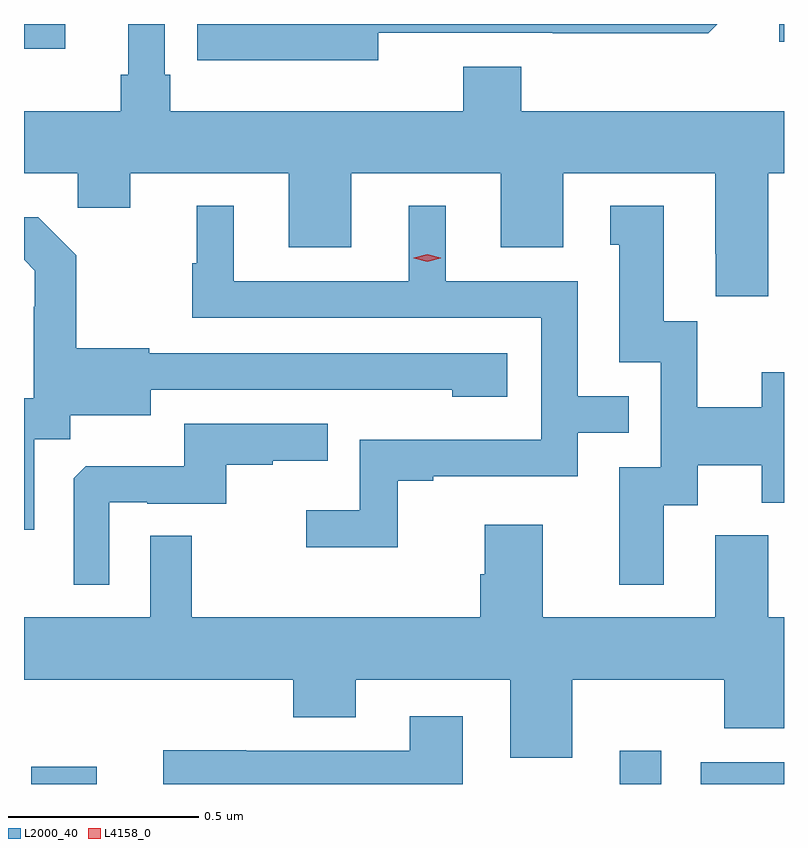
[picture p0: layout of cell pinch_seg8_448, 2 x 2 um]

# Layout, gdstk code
import gdstk
lib = gdstk.Library(unit=1e-6, precision=1e-09)
def R(c, l, rs):  # rectangles x0, y0, x1, y1
    for r in rs: c.add(gdstk.rectangle(r[:2], r[2:], *l))
def P(c, l, *ps):  # polygons
    for p in ps: c.add(gdstk.Polygon(p, *l))
L2000_40 = (2000, 40)
L4158_0 = (4158, 0)

pinch_seg8_448 = lib.new_cell('pinch_seg8_448')
R(pinch_seg8_448, L2000_40, [(317.489,1136.205,317.662,1136.251), (319.038,1136.205,319.147,1136.293), (319.251,1136.205,319.47,1136.262), (317.47,1138.14,317.578,1138.205), (319.458,1138.158,319.47,1138.205)])
P(pinch_seg8_448, L2000_40, [(319.429,1137.812),(319.47,1137.812),(319.47,1137.976),(318.779,1137.976),(318.779,1138.093),(318.626,1138.093),(318.626,1137.976),(317.855,1137.976),(317.855,1138.072),(317.841,1138.072),(317.841,1138.205),(317.744,1138.205),(317.744,1138.072),(317.725,1138.072),(317.725,1137.976),(317.47,1137.976),(317.47,1137.812),(317.611,1137.812),(317.611,1137.722),(317.749,1137.722),(317.749,1137.812),(318.167,1137.812),(318.167,1137.618),(318.331,1137.618),(318.331,1137.812),(318.725,1137.812),(318.725,1137.618),(318.889,1137.618),(318.889,1137.812),(319.289,1137.812),(319.289,1137.601),(319.29,1137.601),(319.29,1137.489),(319.429,1137.489)],
  [(318.402,1138.182),(318.862,1138.182),(318.862,1138.181),(319.27,1138.181),(319.294,1138.205),(317.926,1138.205),(317.926,1138.11),(318.034,1138.11),(318.034,1138.109),(318.402,1138.109)],
  [(319.153,1136.938),(319.243,1136.938),(319.243,1137.044),(319.412,1137.044),(319.412,1136.945),(319.47,1136.945),(319.47,1137.289),(319.412,1137.289),(319.412,1137.196),(319.242,1137.196),(319.242,1137.423),(319.153,1137.423),(319.153,1137.727),(319.013,1137.727),(319.013,1137.624),(319.037,1137.624),(319.037,1137.315),(319.146,1137.315),(319.146,1137.039),(319.037,1137.039),(319.037,1136.73),(319.153,1136.73)],
  [(318.453,1137.003),(318.547,1137.003),(318.547,1137.015),(318.927,1137.015),(318.927,1137.129),(319.061,1137.129),(319.061,1137.225),(318.927,1137.225),(318.927,1137.528),(318.58,1137.528),(318.58,1137.727),(318.482,1137.727),(318.482,1137.528),(318.022,1137.528),(318.022,1137.727),(317.924,1137.727),(317.924,1137.576),(317.913,1137.576),(317.913,1137.432),(318.831,1137.432),(318.831,1137.111),(318.354,1137.111),(318.354,1136.926),(318.213,1136.926),(318.213,1136.828),(318.453,1136.828)],
  [(317.497,1137.112),(317.592,1137.112),(317.592,1137.176),(317.803,1137.176),(317.803,1137.243),(318.361,1137.243),(318.361,1137.242),(318.597,1137.242),(318.597,1137.224),(318.742,1137.224),(318.742,1137.339),(317.799,1137.339),(317.799,1137.352),(317.607,1137.352),(317.607,1137.597),(317.507,1137.697),(317.47,1137.697),(317.47,1137.584),(317.498,1137.556),(317.498,1137.461),(317.496,1137.461),(317.496,1137.22),(317.47,1137.22),(317.47,1136.874),(317.497,1136.874)],
  [(317.694,1136.946),(317.794,1136.946),(317.794,1136.943),(318.002,1136.943),(318.002,1137.045),(318.125,1137.045),(318.125,1137.056),(318.269,1137.056),(318.269,1137.153),(317.892,1137.153),(317.892,1137.041),(317.633,1137.041),(317.601,1137.009),(317.601,1136.729),(317.694,1136.729)],
  [(318.913,1136.48),(319.313,1136.48),(319.313,1136.352),(319.47,1136.352),(319.47,1136.644),(319.429,1136.644),(319.429,1136.86),(319.289,1136.86),(319.289,1136.644),(318.835,1136.644),(318.835,1136.887),(318.683,1136.887),(318.683,1136.757),(318.671,1136.757),(318.671,1136.644),(317.911,1136.644),(317.911,1136.858),(317.802,1136.858),(317.802,1136.644),(317.47,1136.644),(317.47,1136.48),(318.179,1136.48),(318.179,1136.381),(318.343,1136.381),(318.343,1136.48),(318.749,1136.48),(318.749,1136.274),(318.913,1136.274)],
  [(318.625,1136.383),(318.485,1136.383),(318.485,1136.292),(318.055,1136.292),(318.055,1136.294),(317.837,1136.294),(317.837,1136.205),(318.625,1136.205)])
P(pinch_seg8_448, L4158_0, [(318.531,1137.579),(318.495,1137.589),(318.495,1137.589),(318.495,1137.59),(318.531,1137.599),(318.567,1137.59),(318.567,1137.589),(318.567,1137.589)])

lib.write_gds('pinch_seg8_448.gds')
